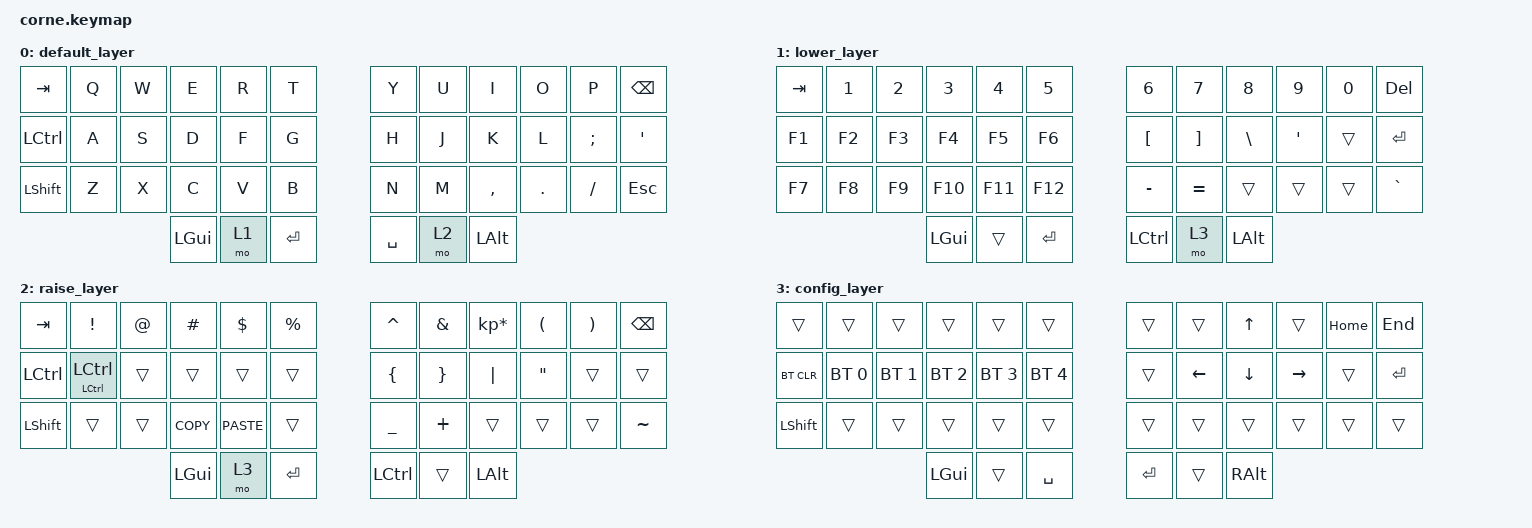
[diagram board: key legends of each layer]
/*
 * Copyright (c) 2020 The ZMK Contributors
 *
 * SPDX-License-Identifier: MIT
 */

#include <behaviors.dtsi>
#include <dt-bindings/zmk/keys.h>
#include <dt-bindings/zmk/bt.h>

/ {
        keymap {
                compatible = "zmk,keymap";

                default_layer {
// -----------------------------------------------------------------------------------------
// |  TAB |  Q  |  W  |  E  |  R  |  T  |   |  Y  |  U   |  I  |  O  |  P  | BKSP |
// | CTRL |  A  |  S  |  D  |  F  |  G  |   |  H  |  J   |  K  |  L  |  ;  |  '   |
// | SHFT |  Z  |  X  |  C  |  V  |  B  |   |  N  |  M   |  ,  |  .  |  /  | ESC  |
//                    | MAC | LWR | ENT |   | SPC | RSE  | ALT |
                        bindings = <
   &kp TAB   &kp Q &kp W &kp E &kp R &kp T   &kp Y &kp U  &kp I     &kp O   &kp P    &kp BSPC
   &kp LCTRL &kp A &kp S &kp D &kp F &kp G   &kp H &kp J  &kp K     &kp L   &kp SEMI &kp SQT
   &kp LSHFT &kp Z &kp X &kp C &kp V &kp B   &kp N &kp M  &kp COMMA &kp DOT &kp FSLH &kp ESC
                  &kp LGUI &mo 1 &kp RET   &kp SPACE &mo 2 &kp LALT
                        >;
                };
                lower_layer {
// -----------------------------------------------------------------------------------------
// |  TAB |  1  |  2  |  3  |  4  |  5  |   |  6   |  7  |  8  |  9  |  0  | DEL |
// |  F1  |  F2 | F3  | F4  | F5  | F6  |   |  [   |  ]  |  \  |  '  |     | ENT |
// |  F7  |  F8 | F9  | F10 | F11 | F12 |   |  -   |  =  |     |     |     |  `  |
//                    | MAC |     | ENT |   | CTRL | LY3 | ALT |
                        bindings = <
   &kp TAB  &kp N1  &kp N2  &kp N3   &kp N4   &kp N5      &kp N6     &kp N7     &kp N8    &kp N9   &kp N0  &kp DEL
   &kp F1   &kp F2  &kp F3  &kp F4   &kp F5   &kp F6      &kp LBKT   &kp RBKT   &kp BSLH  &kp SQT  &trans  &kp RET
   &kp F7   &kp F8  &kp F9  &kp F10  &kp F11  &kp F12     &kp MINUS  &kp EQUAL  &trans    &trans   &trans  &kp GRAVE
                         &kp LGUI    &trans   &kp RET    &kp LCTRL  &mo 3   &kp LALT
                        >;
                };

                raise_layer {
// -----------------------------------------------------------------------------------------
// |  TAB |  !  |  @  |  #   |   $   |  %  |   |  ^   |  &  |  *  |  (  |  )  |      |
// | CTRL |  ctrl + ctrl   |     |      |       |     |   |  {   |  }  | "|" |  "  |     |      |
// | SHFT |     |     | COPY | PASTE |     |   |  _   |  +  |     |     |     |  ~   |
//                    | MAC  |  LY3  | ENT |   | CTRL |     | ALT |
                        bindings = <
   &kp  TAB  &kp EXCL &kp AT &kp HASH     &kp DLLR      &kp PRCNT    &kp CARET &kp AMPS  &kp KP_MULTIPLY &kp LPAR &kp RPAR &kp BSPC
   &kp LCTRL &mt LCTRL LCTRL   &trans &trans       &trans        &trans       &kp LBRC  &kp RBRC  &kp PIPE        &kp DQT  &trans   &trans
   &kp LSHFT &trans   &trans &kp K_COPY   &kp K_PASTE   &trans       &kp UNDER &kp PLUS  &trans          &trans   &trans   &kp TILDE
                             &kp LGUI &mo 3   &kp RET   &kp LCTRL    &trans    &kp LALT
                        >;
                };

                config_layer {
// -----------------------------------------------------------------------------------------
// |      |     |     |     |     |     |   |     |     |  UP |     | HOME |  END | 
// | BTCLR| BT1 | BT2 | BT3 | BT4 | BT5 |   |     | LFT | DWN | RGT |      |  ENT |
// | SHFT |     |     |     |     |     |   |     |     |     |     |      |      |
//                    | MAC |     | SPC |   | ENT |     | ALT |
                        bindings = <
   &trans     &trans       &trans       &trans       &trans       &trans            &trans  &trans    &kp UP    &trans    &kp HOME &kp END
   &bt BT_CLR &bt BT_SEL 0 &bt BT_SEL 1 &bt BT_SEL 2 &bt BT_SEL 3 &bt BT_SEL 4      &trans  &kp LEFT  &kp DOWN  &kp RIGHT &trans   &kp RET
   &kp LSHFT  &trans       &trans       &trans       &trans       &trans            &trans  &trans    &trans    &trans    &trans   &trans
                             &kp LGUI &trans   &kp SPACE   &kp RET   &trans    &kp RALT
                        >;
                };
        };
};
